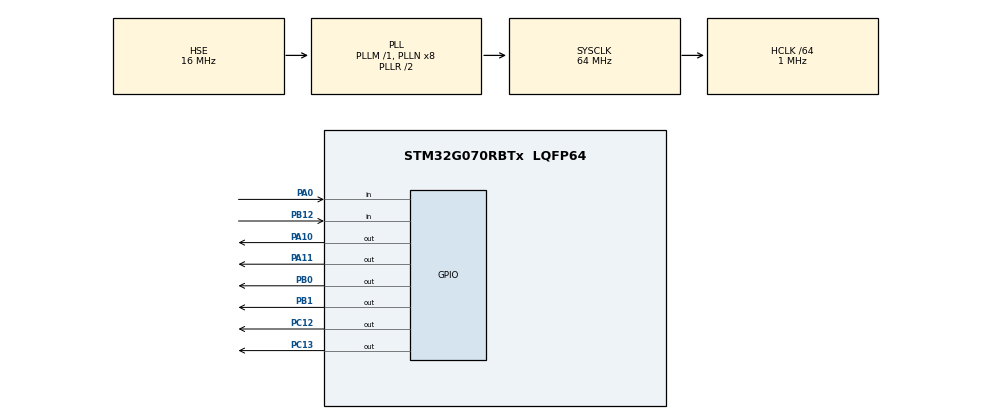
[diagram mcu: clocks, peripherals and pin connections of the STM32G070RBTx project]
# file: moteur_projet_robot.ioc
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Mcu.Family=STM32G0
Mcu.Name=STM32G070RBTx
Mcu.Package=LQFP64
PA0.GPIO_PuPd=GPIO_PULLDOWN
PA0.Signal=GPIO_Input
PA10.Signal=GPIO_Output
PA11\ [PA9].Signal=GPIO_Output
PA13.Mode=Serial_Wire
PA13.Signal=SYS_SWDIO
PA14-BOOT0.Mode=Serial_Wire
PA14-BOOT0.Signal=SYS_SWCLK
PB0.Signal=GPIO_Output
PB1.Signal=GPIO_Output
PB12.GPIO_PuPd=GPIO_PULLDOWN
PB12.Signal=GPIO_Input
PC12.Signal=GPIO_Output
PC13.Signal=GPIO_Output
PF0-OSC_IN\ (PF0).Mode=HSE-External-Oscillator
PF0-OSC_IN\ (PF0).Signal=RCC_OSC_IN
PF1-OSC_OUT\ (PF1).Mode=HSE-External-Oscillator
PF1-OSC_OUT\ (PF1).Signal=RCC_OSC_OUT
ProjectManager.HeapSize=0x200
ProjectManager.StackSize=0x400
ProjectManager.TargetToolchain=STM32CubeIDE
RCC.ADCFreq_Value=64000000
RCC.AHBCLKDivider=RCC_SYSCLK_DIV64
RCC.AHBFreq_Value=1000000
RCC.CortexFreq_Value=1000000
RCC.EXTERNAL_CLOCK_VALUE=48000
RCC.HCLKFreq_Value=1000000
RCC.HSE_VALUE=16000000
RCC.HSI_VALUE=16000000
RCC.LSE_VALUE=32768
RCC.PLLSourceVirtual=RCC_PLLSOURCE_HSE
RCC.SYSCLKFreq_VALUE=64000000
RCC.SYSCLKSource=RCC_SYSCLKSOURCE_PLLCLK
RCC.VCOOutputFreq_Value=128000000
board=custom

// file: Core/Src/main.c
/* USER CODE BEGIN Header */
/**
 ******************************************************************************
 * @file           : main.c
 * @brief          : Main program body
 ******************************************************************************
 * @attention
 *
 * Copyright (c) 2024 STMicroelectronics.
 * All rights reserved.
 *
 * This software is licensed under terms that can be found in the LICENSE file
 * in the root directory of this software component.
 * If no LICENSE file comes with this software, it is provided AS-IS.
 *
 ******************************************************************************
 */
/* USER CODE END Header */
#include "main.h"
#include "gpio.h"

/* USER CODE BEGIN Includes */
#include <stdio.h>

/* USER CODE END Includes */

void SystemClock_Config(void);

/* USER CODE BEGIN 0 */
void avance(void)
{
	HAL_GPIO_WritePin(GPIOA, GPIO_PIN_11, GPIO_PIN_SET);
	HAL_GPIO_WritePin(GPIOA, GPIO_PIN_10, GPIO_PIN_RESET);
	HAL_GPIO_WritePin(GPIOB, GPIO_PIN_0, GPIO_PIN_SET);
	HAL_GPIO_WritePin(GPIOB, GPIO_PIN_1, GPIO_PIN_RESET);

}

void recule(void)
{
	HAL_GPIO_WritePin(GPIOA, GPIO_PIN_11, GPIO_PIN_RESET);
	HAL_GPIO_WritePin(GPIOA, GPIO_PIN_10, GPIO_PIN_SET);
	HAL_GPIO_WritePin(GPIOB, GPIO_PIN_0, GPIO_PIN_RESET);
	HAL_GPIO_WritePin(GPIOB, GPIO_PIN_1, GPIO_PIN_SET);
}
void stop(void)
{
	HAL_GPIO_WritePin(GPIOA, GPIO_PIN_11, GPIO_PIN_RESET);
	HAL_GPIO_WritePin(GPIOA, GPIO_PIN_10, GPIO_PIN_RESET);
	HAL_GPIO_WritePin(GPIOB, GPIO_PIN_0, GPIO_PIN_RESET);
	HAL_GPIO_WritePin(GPIOB, GPIO_PIN_1, GPIO_PIN_RESET);
}

/* USER CODE END 0 */

int main(void)
{

  /* MCU Configuration--------------------------------------------------------*/

  /* Reset of all peripherals, Initializes the Flash interface and the Systick. */
  HAL_Init();

  /* Configure the system clock */
  SystemClock_Config();

  /* Initialize all configured peripherals */
  MX_GPIO_Init();
  /* USER CODE BEGIN 2 */
	int a=0;
	//__HAL_RCC_GPIOC_CLK_ENABLE();
	//HAL_GPIO_WritePin(GPIOA, GPIO_PIN_11, GPIO_PIN_SET);
	//HAL_GPIO_WritePin(GPIOC, GPIO_PIN_13, GPIO_PIN_SET);
	//HAL_GPIO_WritePin(GPIOC, GPIO_PIN_12, GPIO_PIN_SET);

//	TIM1->CCR1=500;
//	TIM3->CCR1=500;
//
//	HAL_TIM_PWM_Start(&htim1, TIM_CHANNEL_4);
//	HAL_TIM_PWM_Start(&htim1, TIM_CHANNEL_3);

//	if(HAL_TIM_PWM_Start(&htim1,TIM_CHANNEL_4)!=HAL_OK)
//	{
//		a=1;
//	}
//
//	HAL_TIM_PWM_Start(&htim3, TIM_CHANNEL_4);
//
//	HAL_TIM_PWM_Start(&htim3, TIM_CHANNEL_3);
	//__HAL_TIM_SET_COMPARE(&htim3, TIM_CHANNEL_3, 0); //ON met a 0 l'une des pwm
	printf("%d",a);
	//if(HAL_TIM_PWM_Start(&htim2,TIM_CHANNEL_4)!=)

  /* USER CODE END 2 */

  /* Infinite loop */
	while (1)
	{
		if(HAL_GPIO_ReadPin(GPIOA, GPIO_PIN_0)==GPIO_PIN_RESET)
			{
			avance();
			}
			else
			{

				stop();
				HAL_Delay(100);
				while(HAL_GPIO_ReadPin(GPIOA, GPIO_PIN_0)==GPIO_PIN_SET)
				{
			    recule();
		    					}

			}
			if(HAL_GPIO_ReadPin(GPIOB, GPIO_PIN_12)==GPIO_PIN_SET)
			{
				avance();

			}
				else
			{
				stop();
				stop();
				HAL_Delay(200);
				recule();
				recule();
			}
	}
}

void SystemClock_Config(void)
{
  RCC_OscInitTypeDef RCC_OscInitStruct = {0};
  RCC_ClkInitTypeDef RCC_ClkInitStruct = {0};

  /** Configure the main internal regulator output voltage
  */
  HAL_PWREx_ControlVoltageScaling(PWR_REGULATOR_VOLTAGE_SCALE1);

  /** Initializes the RCC Oscillators according to the specified parameters
  * in the RCC_OscInitTypeDef structure.
  */
  RCC_OscInitStruct.OscillatorType = RCC_OSCILLATORTYPE_HSE;
  RCC_OscInitStruct.HSEState = RCC_HSE_ON;
  RCC_OscInitStruct.PLL.PLLState = RCC_PLL_ON;
  RCC_OscInitStruct.PLL.PLLSource = RCC_PLLSOURCE_HSE;
  RCC_OscInitStruct.PLL.PLLM = RCC_PLLM_DIV1;
  RCC_OscInitStruct.PLL.PLLN = 8;
  RCC_OscInitStruct.PLL.PLLP = RCC_PLLP_DIV2;
  RCC_OscInitStruct.PLL.PLLR = RCC_PLLR_DIV2;
  if (HAL_RCC_OscConfig(&RCC_OscInitStruct) != HAL_OK)
  {
    Error_Handler();
  }

  /** Initializes the CPU, AHB and APB buses clocks
  */
  RCC_ClkInitStruct.ClockType = RCC_CLOCKTYPE_HCLK|RCC_CLOCKTYPE_SYSCLK
                              |RCC_CLOCKTYPE_PCLK1;
  RCC_ClkInitStruct.SYSCLKSource = RCC_SYSCLKSOURCE_PLLCLK;
  RCC_ClkInitStruct.AHBCLKDivider = RCC_SYSCLK_DIV64;
  RCC_ClkInitStruct.APB1CLKDivider = RCC_HCLK_DIV1;

  if (HAL_RCC_ClockConfig(&RCC_ClkInitStruct, FLASH_LATENCY_0) != HAL_OK)
  {
    Error_Handler();
  }
}

void Error_Handler(void)
{
	__disable_irq();
	while (1)
	{
	}
}
